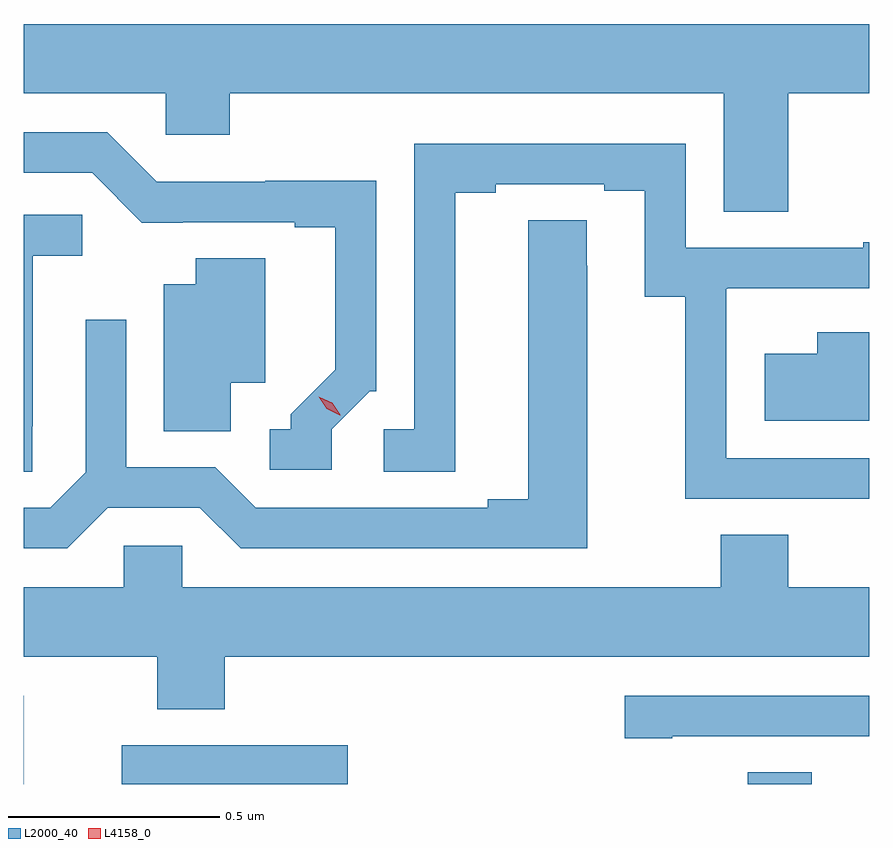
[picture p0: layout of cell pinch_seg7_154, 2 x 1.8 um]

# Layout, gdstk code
import gdstk
lib = gdstk.Library(unit=1e-6, precision=1e-09)
def R(c, l, rs):  # rectangles x0, y0, x1, y1
    for r in rs: c.add(gdstk.rectangle(r[:2], r[2:], *l))
def P(c, l, *ps):  # polygons
    for p in ps: c.add(gdstk.Polygon(p, *l))
L2000_40 = (2000, 40)
L4158_0 = (4158, 0)

pinch_seg7_154 = lib.new_cell('pinch_seg7_154')
R(pinch_seg7_154, L2000_40, [(1058.262,1021.627,1058.263,1021.836), (1058.494,1021.627,1059.028,1021.719), (1059.974,1021.627,1060.126,1021.655)])
P(pinch_seg7_154, L2000_40, [(1060.07,1023.26),(1060.262,1023.26),(1060.262,1023.424),(1058.262,1023.424),(1058.262,1023.26),(1058.598,1023.26),(1058.598,1023.162),(1058.75,1023.162),(1058.75,1023.26),(1059.917,1023.26),(1059.917,1022.98),(1060.07,1022.98)],
  [(1058.991,1022.466),(1059.081,1022.556),(1059.096,1022.556),(1059.096,1023.053),(1058.833,1023.053),(1058.833,1023.051),(1058.577,1023.051),(1058.46,1023.168),(1058.262,1023.168),(1058.262,1023.072),(1058.424,1023.072),(1058.542,1022.954),(1058.638,1022.954),(1058.638,1022.955),(1058.903,1022.955),(1058.903,1022.943),(1058.999,1022.943),(1058.999,1022.606),(1058.894,1022.501),(1058.894,1022.466),(1058.844,1022.466),(1058.844,1022.37),(1058.991,1022.37)],
  [(1060.262,1022.397),(1059.924,1022.397),(1059.924,1022.798),(1059.926,1022.798),(1059.926,1022.799),(1060.262,1022.799),(1060.262,1022.908),(1060.247,1022.908),(1060.247,1022.895),(1059.828,1022.895),(1059.828,1023.141),(1059.186,1023.141),(1059.186,1022.466),(1059.114,1022.466),(1059.114,1022.365),(1059.283,1022.365),(1059.283,1023.025),(1059.379,1023.025),(1059.379,1023.045),(1059.635,1023.045),(1059.635,1023.03),(1059.731,1023.03),(1059.731,1022.779),(1059.826,1022.779),(1059.826,1022.301),(1060.262,1022.301)],
  [(1058.283,1022.473),(1058.284,1022.473),(1058.284,1022.876),(1058.401,1022.876),(1058.401,1022.973),(1058.262,1022.973),(1058.262,1022.365),(1058.283,1022.365)],
  [(1058.461,1022.28),(1058.679,1022.28),(1058.775,1022.184),(1059.595,1022.184),(1059.595,1022.852),(1059.594,1022.852),(1059.594,1022.96),(1059.455,1022.96),(1059.455,1022.3),(1059.359,1022.3),(1059.359,1022.28),(1058.811,1022.28),(1058.715,1022.376),(1058.505,1022.376),(1058.505,1022.725),(1058.409,1022.725),(1058.409,1022.364),(1058.325,1022.28),(1058.262,1022.28),(1058.262,1022.184),(1058.365,1022.184)],
  [(1058.752,1022.576),(1058.833,1022.576),(1058.833,1022.87),(1058.669,1022.87),(1058.669,1022.809),(1058.594,1022.809),(1058.594,1022.461),(1058.752,1022.461)],
  [(1060.262,1022.695),(1060.139,1022.695),(1060.139,1022.644),(1060.014,1022.644),(1060.014,1022.486),(1060.262,1022.486)],
  [(1058.738,1021.928),(1060.262,1021.928),(1060.262,1022.092),(1060.07,1022.092),(1060.07,1022.216),(1059.91,1022.216),(1059.91,1022.092),(1058.637,1022.092),(1058.637,1022.19),(1058.499,1022.19),(1058.499,1022.092),(1058.262,1022.092),(1058.262,1021.928),(1058.578,1021.928),(1058.578,1021.804),(1058.738,1021.804)],
  [(1059.796,1021.74),(1060.262,1021.74),(1060.262,1021.836),(1059.684,1021.836),(1059.684,1021.735),(1059.796,1021.735)])
P(pinch_seg7_154, L4158_0, [(1059.01,1022.499),(1058.979,1022.514),(1058.96,1022.543),(1058.96,1022.543),(1058.96,1022.543),(1058.992,1022.529),(1059.011,1022.5),(1059.011,1022.499)])

lib.write_gds('pinch_seg7_154.gds')
